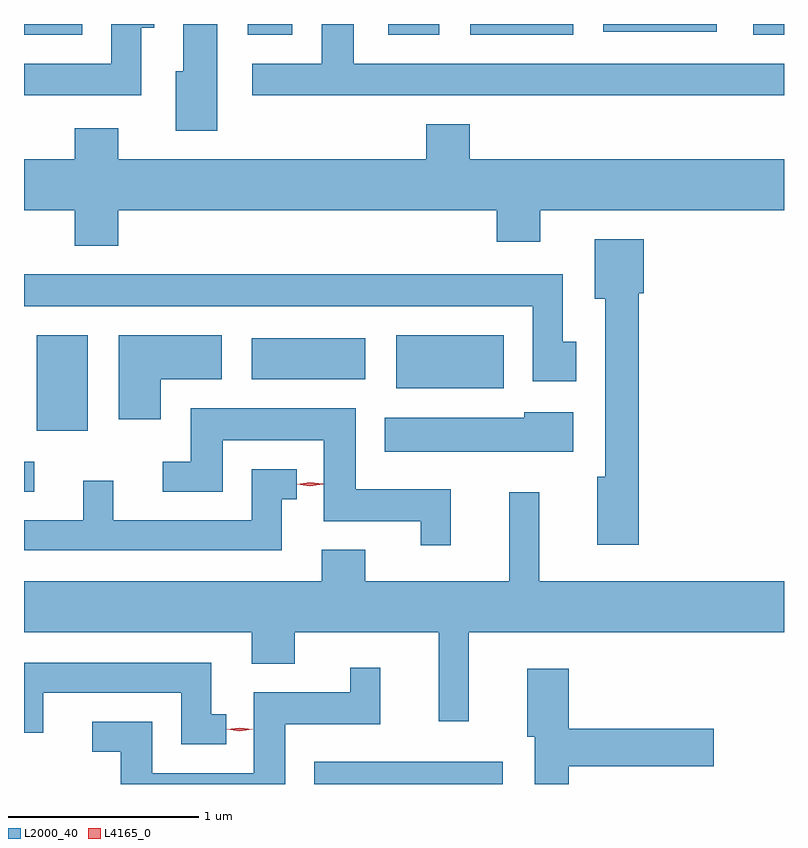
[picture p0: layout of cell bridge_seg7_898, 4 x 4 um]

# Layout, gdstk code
import gdstk
lib = gdstk.Library(unit=1e-6, precision=1e-09)
def R(c, l, rs):  # rectangles x0, y0, x1, y1
    for r in rs: c.add(gdstk.rectangle(r[:2], r[2:], *l))
def P(c, l, *ps):  # polygons
    for p in ps: c.add(gdstk.Polygon(p, *l))
L2000_40 = (2000, 40)
L4165_0 = (4165, 0)

bridge_seg7_898 = lib.new_cell('bridge_seg7_898')
R(bridge_seg7_898, L2000_40, [(551.971,1735.717,552.964,1735.834), (550.443,1737.256,550.498,1737.414), (550.511,1737.576,550.779,1738.079), (552.401,1737.801,552.969,1738.079), (551.641,1737.846,552.239,1738.064), (550.443,1739.661,550.749,1739.717), (551.621,1739.661,551.854,1739.717), (552.361,1739.661,552.629,1739.717), (552.791,1739.661,553.334,1739.717), (554.281,1739.661,554.443,1739.717), (553.491,1739.676,554.089,1739.717)])
P(bridge_seg7_898, L2000_40, [(554.443,1739.509),(552.179,1739.509),(552.179,1739.717),(552.011,1739.717),(552.011,1739.509),(551.643,1739.509),(551.643,1739.341),(554.443,1739.341)],
  [(551.059,1739.696),(551.129,1739.696),(551.129,1739.717),(550.901,1739.717),(550.901,1739.509),(550.443,1739.509),(550.443,1739.341),(551.059,1739.341)],
  [(551.459,1739.717),(551.281,1739.717),(551.281,1739.469),(551.241,1739.469),(551.241,1739.156),(551.459,1739.156)],
  [(550.939,1738.736),(552.931,1738.736),(552.931,1738.571),(553.159,1738.571),(553.159,1738.736),(554.443,1738.736),(554.443,1739.004),(552.789,1739.004),(552.789,1739.189),(552.561,1739.189),(552.561,1739.004),(550.939,1739.004),(550.939,1739.169),(550.711,1739.169),(550.711,1739.004),(550.443,1739.004),(550.443,1738.736),(550.711,1738.736),(550.711,1738.551),(550.939,1738.551)],
  [(553.679,1738.301),(553.704,1738.301),(553.704,1738.584),(553.446,1738.584),(553.446,1738.271),(553.501,1738.271),(553.501,1737.334),(553.461,1737.334),(553.461,1736.976),(553.679,1736.976)],
  [(553.349,1738.044),(553.279,1738.044),(553.279,1738.399),(550.443,1738.399),(550.443,1738.231),(553.121,1738.231),(553.121,1737.836),(553.349,1737.836)],
  [(551.164,1737.846),(551.484,1737.846),(551.484,1738.079),(550.941,1738.079),(550.941,1737.636),(551.164,1737.636)],
  [(552.689,1737.269),(552.189,1737.269),(552.189,1737.694),(551.321,1737.694),(551.321,1737.414),(551.173,1737.414),(551.173,1737.256),(551.489,1737.256),(551.489,1737.526),(552.021,1737.526),(552.021,1737.101),(552.531,1737.101),(552.531,1736.973),(552.689,1736.973)],
  [(553.334,1737.674),(553.076,1737.674),(553.076,1737.644),(552.341,1737.644),(552.341,1737.466),(553.334,1737.466)],
  [(551.799,1737.216),(551.878,1737.216),(551.878,1737.374),(551.641,1737.374),(551.641,1737.104),(550.914,1737.104),(550.914,1737.313),(550.756,1737.313),(550.756,1737.104),(550.443,1737.104),(550.443,1736.946),(551.799,1736.946)],
  [(552.784,1736.516),(554.443,1736.516),(554.443,1736.784),(553.154,1736.784),(553.154,1737.253),(552.996,1737.253),(552.996,1736.784),(552.239,1736.784),(552.239,1736.949),(552.011,1736.949),(552.011,1736.784),(550.443,1736.784),(550.443,1736.516),(551.641,1736.516),(551.641,1736.351),(551.869,1736.351),(551.869,1736.516),(552.626,1736.516),(552.626,1736.048),(552.784,1736.048)],
  [(551.508,1736.084),(551.429,1736.084),(551.429,1736.354),(550.443,1736.354),(550.443,1735.988),(550.544,1735.988),(550.544,1736.196),(551.271,1736.196),(551.271,1735.926),(551.508,1735.926)],
  [(551.819,1736.031),(552.319,1736.031),(552.319,1736.328),(552.161,1736.328),(552.161,1736.199),(551.651,1736.199),(551.651,1735.774),(551.119,1735.774),(551.119,1736.044),(550.803,1736.044),(550.803,1735.886),(550.951,1735.886),(550.951,1735.717),(551.819,1735.717)],
  [(553.309,1735.811),(554.074,1735.811),(554.074,1736.009),(553.309,1736.009),(553.309,1736.324),(553.091,1736.324),(553.091,1735.966),(553.131,1735.966),(553.131,1735.717),(553.309,1735.717)])
P(bridge_seg7_898, L4165_0, [(551.948,1737.285),(551.879,1737.294),(551.879,1737.295),(551.879,1737.295),(551.948,1737.305),(552.018,1737.296),(552.018,1737.296),(552.018,1737.295)],
  [(551.578,1735.994),(551.509,1736.004),(551.509,1736.004),(551.509,1736.005),(551.578,1736.014),(551.648,1736.005),(551.648,1736.004),(551.648,1736.004)])

lib.write_gds('bridge_seg7_898.gds')
